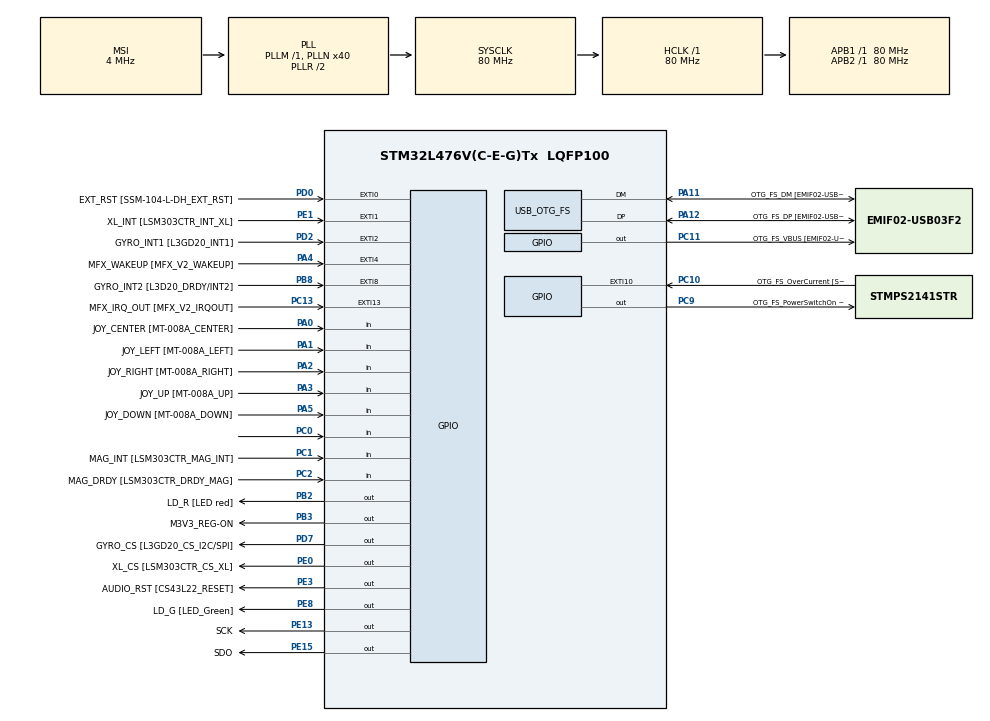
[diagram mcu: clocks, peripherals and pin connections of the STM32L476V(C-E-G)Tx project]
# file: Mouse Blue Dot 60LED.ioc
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Mcu.Family=STM32L4
Mcu.Name=STM32L476V(C-E-G)Tx
Mcu.Package=LQFP100
NVIC.OTG_FS_IRQn=true\:0\:0\:false\:false\:true\:true\:true\:true
NVIC.PriorityGroup=NVIC_PRIORITYGROUP_4
PA0.GPIO_Label=JOY_CENTER [MT-008A_CENTER]
PA0.GPIO_Mode=GPIO_MODE_INPUT
PA0.GPIO_PuPd=GPIO_PULLDOWN
PA0.Signal=GPIO_Input
PA1.GPIO_Label=JOY_LEFT [MT-008A_LEFT]
PA1.GPIO_Mode=GPIO_MODE_INPUT
PA1.GPIO_PuPd=GPIO_PULLDOWN
PA1.Signal=GPIO_Input
PA10.GPIO_Label=COM2 [GH08172T_COM2]
PA10.GPIO_Mode=GPIO_MODE_AF_PP
PA10.GPIO_PuPd=GPIO_NOPULL
PA10.GPIO_Speed=GPIO_SPEED_FREQ_LOW
PA10.Signal=LCD_COM2
PA11.GPIO_Label=OTG_FS_DM [EMIF02-USB03F2_D-out]
PA11.GPIO_Mode=GPIO_MODE_AF_PP
PA11.GPIO_PuPd=GPIO_NOPULL
PA11.GPIO_Speed=GPIO_SPEED_FREQ_VERY_HIGH
PA11.Mode=Host_Only
PA11.Signal=USB_OTG_FS_DM
PA12.GPIO_Label=OTG_FS_DP [EMIF02-USB03F2_D+out]
PA12.GPIO_Mode=GPIO_MODE_AF_PP
PA12.GPIO_PuPd=GPIO_NOPULL
PA12.GPIO_Speed=GPIO_SPEED_FREQ_VERY_HIGH
PA12.Mode=Host_Only
PA12.Signal=USB_OTG_FS_DP
PA13\ (JTMS-SWDIO).GPIO_Label=SWDIO
PA13\ (JTMS-SWDIO).Mode=Serial_Wire
PA13\ (JTMS-SWDIO).Signal=SYS_JTMS-SWDIO
PA14\ (JTCK-SWCLK).GPIO_Label=SWCLK
PA14\ (JTCK-SWCLK).Mode=Serial_Wire
PA14\ (JTCK-SWCLK).Signal=SYS_JTCK-SWCLK
PA15\ (JTDI).GPIO_Label=SEG10 [GH08172T_SEG10]
PA15\ (JTDI).GPIO_Mode=GPIO_MODE_AF_PP
PA15\ (JTDI).GPIO_PuPd=GPIO_NOPULL
PA15\ (JTDI).GPIO_Speed=GPIO_SPEED_FREQ_LOW
PA15\ (JTDI).Signal=LCD_SEG17
PA2.GPIO_Label=JOY_RIGHT [MT-008A_RIGHT]
PA2.GPIO_Mode=GPIO_MODE_INPUT
PA2.GPIO_PuPd=GPIO_PULLDOWN
PA2.Signal=GPIO_Input
PA3.GPIO_Label=JOY_UP [MT-008A_UP]
PA3.GPIO_Mode=GPIO_MODE_INPUT
PA3.GPIO_PuPd=GPIO_PULLDOWN
PA3.Signal=GPIO_Input
PA4.GPIO_Label=MFX_WAKEUP [MFX_V2_WAKEUP]
PA4.GPIO_ModeDefaultEXTI=GPIO_MODE_EVT_RISING
PA4.GPIO_PuPd=GPIO_NOPULL
PA4.Signal=GPXTI4
PA5.GPIO_Label=JOY_DOWN [MT-008A_DOWN]
PA5.GPIO_Mode=GPIO_MODE_INPUT
PA5.GPIO_PuPd=GPIO_PULLDOWN
PA5.Signal=GPIO_Input
PA6.GPIO_Label=SEG23 [GH08172T_SEG23]
PA6.GPIO_Mode=GPIO_MODE_AF_PP
PA6.GPIO_PuPd=GPIO_NOPULL
PA6.GPIO_Speed=GPIO_SPEED_FREQ_LOW
PA6.Signal=LCD_SEG3
PA7.GPIO_Label=SEG0 [GH08172T_SEG0]
PA7.GPIO_Mode=GPIO_MODE_AF_PP
PA7.GPIO_PuPd=GPIO_NOPULL
PA7.GPIO_Speed=GPIO_SPEED_FREQ_LOW
PA7.Signal=LCD_SEG4
PA8.GPIO_Label=COM0 [GH08172T_COM0]
PA8.GPIO_Mode=GPIO_MODE_AF_PP
PA8.GPIO_PuPd=GPIO_NOPULL
PA8.GPIO_Speed=GPIO_SPEED_FREQ_LOW
PA8.Signal=LCD_COM0
PA9.GPIO_Label=COM1 [GH08172T_COM1]
PA9.GPIO_Mode=GPIO_MODE_AF_PP
PA9.GPIO_PuPd=GPIO_NOPULL
PA9.GPIO_Speed=GPIO_SPEED_FREQ_LOW
PA9.Signal=LCD_COM1
PB0.GPIO_Label=SEG21 [GH08172T_SEG21]
PB0.GPIO_Mode=GPIO_MODE_AF_PP
PB0.GPIO_PuPd=GPIO_NOPULL
PB0.GPIO_Speed=GPIO_SPEED_FREQ_LOW
PB0.Signal=LCD_SEG5
PB1.GPIO_Label=SEG2 [GH08172T_SEG2]
PB1.GPIO_Mode=GPIO_MODE_AF_PP
PB1.GPIO_PuPd=GPIO_NOPULL
PB1.GPIO_Speed=GPIO_SPEED_FREQ_LOW
PB1.Signal=LCD_SEG6
PB10.GPIO_Label=MFX_I2C_SLC [MFX_V2_I2C_SCL]
PB10.GPIO_Mode=GPIO_MODE_AF_OD
PB10.GPIO_PuPdOD=GPIO_PULLUP
PB10.GPIO_Speed=GPIO_SPEED_FREQ_VERY_HIGH
PB10.Signal=I2C2_SCL
PB11.GPIO_Label=MFX_I2C_SDA [MFX_V2_I2C_SDA]
PB11.GPIO_Mode=GPIO_MODE_AF_OD
PB11.GPIO_PuPdOD=GPIO_PULLUP
PB11.GPIO_Speed=GPIO_SPEED_FREQ_VERY_HIGH
PB11.Signal=I2C2_SDA
PB12.GPIO_Label=SEG20 [GH08172T_SEG20]
PB12.GPIO_Mode=GPIO_MODE_AF_PP
PB12.GPIO_PuPd=GPIO_NOPULL
PB12.GPIO_Speed=GPIO_SPEED_FREQ_LOW
PB12.Signal=LCD_SEG12
PB13.GPIO_Label=SEG3 [GH08172T_SEG3]
PB13.GPIO_Mode=GPIO_MODE_AF_PP
PB13.GPIO_PuPd=GPIO_NOPULL
PB13.GPIO_Speed=GPIO_SPEED_FREQ_LOW
PB13.Signal=LCD_SEG13
PB14.GPIO_Label=SEG19 [GH08172T_SEG19]
PB14.GPIO_Mode=GPIO_MODE_AF_PP
PB14.GPIO_PuPd=GPIO_NOPULL
PB14.GPIO_Speed=GPIO_SPEED_FREQ_LOW
PB14.Signal=LCD_SEG14
PB15.GPIO_Label=SEG4 [GH08172T_SEG4]
PB15.GPIO_Mode=GPIO_MODE_AF_PP
PB15.GPIO_PuPd=GPIO_NOPULL
PB15.GPIO_Speed=GPIO_SPEED_FREQ_LOW
PB15.Signal=LCD_SEG15
PB2.GPIO_Label=LD_R [LED red]
PB2.GPIO_ModeDefaultOutputPP=GPIO_MODE_OUTPUT_PP
PB2.GPIO_PuPd=GPIO_PULLUP
PB2.GPIO_Speed=GPIO_SPEED_FREQ_VERY_HIGH
PB2.Signal=GPIO_Output
PB3\ (JTDO-TRACESWO).GPIO_Label=M3V3_REG-ON
PB3\ (JTDO-TRACESWO).GPIO_ModeDefaultOutputPP=GPIO_MODE_OUTPUT_PP
PB3\ (JTDO-TRACESWO).GPIO_PuPd=GPIO_NOPULL
PB3\ (JTDO-TRACESWO).GPIO_Speed=GPIO_SPEED_FREQ_LOW
PB3\ (JTDO-TRACESWO).Signal=GPIO_Output
PB4\ (NJTRST).GPIO_Label=SEG11 [GH08172T_SEG11]
PB4\ (NJTRST).GPIO_Mode=GPIO_MODE_AF_PP
PB4\ (NJTRST).GPIO_PuPd=GPIO_NOPULL
PB4\ (NJTRST).GPIO_Speed=GPIO_SPEED_FREQ_LOW
PB4\ (NJTRST).Signal=LCD_SEG8
PB5.GPIO_Label=SEG12 [GH08172T_SEG12]
PB5.GPIO_Mode=GPIO_MODE_AF_PP
PB5.GPIO_PuPd=GPIO_NOPULL
PB5.GPIO_Speed=GPIO_SPEED_FREQ_LOW
PB5.Signal=LCD_SEG9
PB6.GPIO_FM6=__NULL
PB6.GPIO_Label=I2C1_SCL [SSM-104-L-DH_SCL]
PB6.GPIO_Mode=GPIO_MODE_AF_OD
PB6.GPIO_PuPdOD=GPIO_PULLUP
PB6.GPIO_Speed=GPIO_SPEED_FREQ_VERY_HIGH
PB6.Signal=I2C1_SCL
PB7.GPIO_FM7=__NULL
PB7.GPIO_Label=I2C1_SDA [SSM-104-L-DH_SDA]
PB7.GPIO_Mode=GPIO_MODE_AF_OD
PB7.GPIO_PuPdOD=GPIO_PULLUP
PB7.GPIO_Speed=GPIO_SPEED_FREQ_VERY_HIGH
PB7.Signal=I2C1_SDA
PB8.GPIO_Label=GYRO_INT2 [L3D20_DRDY/INT2]
PB8.GPIO_ModeDefaultEXTI=GPIO_MODE_EVT_RISING
PB8.GPIO_PuPd=GPIO_NOPULL
PB8.Signal=GPXTI8
PB9.GPIO_FM9=__NULL
PB9.GPIO_Label=COM3 [GH08172T_COM3]
PB9.GPIO_Mode=GPIO_MODE_AF_PP
PB9.GPIO_PuPd=GPIO_NOPULL
PB9.GPIO_Speed=GPIO_SPEED_FREQ_LOW
PB9.Signal=LCD_COM3
PC0.Signal=GPIO_Input
PC1.GPIO_Label=MAG_INT [LSM303CTR_MAG_INT]
PC1.GPIO_Mode=GPIO_MODE_INPUT
PC1.GPIO_PuPd=GPIO_NOPULL
PC1.Signal=GPIO_Input
PC10.GPIO_Label=OTG_FS_OverCurrent [STMPS2141STR_FAULT]
PC10.GPIO_ModeDefaultEXTI=GPIO_MODE_EVT_RISING
PC10.GPIO_PuPd=GPIO_NOPULL
PC10.Signal=GPXTI10
PC11.GPIO_Label=OTG_FS_VBUS [EMIF02-USB03F2_Vbus]
PC11.GPIO_ModeDefaultOutputPP=GPIO_MODE_OUTPUT_PP
PC11.GPIO_PuPd=GPIO_NOPULL
PC11.GPIO_Speed=GPIO_SPEED_FREQ_LOW
PC11.Signal=GPIO_Output
PC13.GPIO_Label=MFX_IRQ_OUT [MFX_V2_IRQOUT]
PC13.GPIO_ModeDefaultEXTI=GPIO_MODE_EVT_RISING
PC13.GPIO_PuPd=GPIO_NOPULL
PC13.Signal=GPXTI13
PC14-OSC32_IN\ (PC14).Mode=LSE-External-Oscillator
PC14-OSC32_IN\ (PC14).Signal=RCC_OSC32_IN
PC15-OSC32_OUT\ (PC15).Mode=LSE-External-Oscillator
PC15-OSC32_OUT\ (PC15).Signal=RCC_OSC32_OUT
PC2.GPIO_Label=MAG_DRDY [LSM303CTR_DRDY_MAG]
PC2.GPIO_Mode=GPIO_MODE_INPUT
PC2.GPIO_PuPd=GPIO_NOPULL
PC2.Signal=GPIO_Input
PC3.GPIO_Label=VLCD
PC3.GPIO_Mode=GPIO_MODE_AF_PP
PC3.GPIO_PuPd=GPIO_NOPULL
PC3.GPIO_Speed=GPIO_SPEED_FREQ_LOW
PC3.Signal=LCD_VLCD
PC4.GPIO_Label=SEG22 [GH08172T_SEG22]
PC4.GPIO_Mode=GPIO_MODE_AF_PP
PC4.GPIO_PuPd=GPIO_NOPULL
PC4.GPIO_Speed=GPIO_SPEED_FREQ_LOW
PC4.Signal=LCD_SEG22
PC5.GPIO_Label=SEG1 [GH08172T_SEG1]
PC5.GPIO_Mode=GPIO_MODE_AF_PP
PC5.GPIO_PuPd=GPIO_NOPULL
PC5.GPIO_Speed=GPIO_SPEED_FREQ_LOW
PC5.Signal=LCD_SEG23
PC6.GPIO_Label=SEG14 [GH08172T_SEG14]
PC6.GPIO_Mode=GPIO_MODE_AF_PP
PC6.GPIO_PuPd=GPIO_NOPULL
PC6.GPIO_Speed=GPIO_SPEED_FREQ_LOW
PC6.Signal=LCD_SEG24
PC7.GPIO_Label=SEG9 [GH08172T_SEG9]
PC7.GPIO_Mode=GPIO_MODE_AF_PP
PC7.GPIO_PuPd=GPIO_NOPULL
PC7.GPIO_Speed=GPIO_SPEED_FREQ_LOW
PC7.Signal=LCD_SEG25
PC8.GPIO_Label=SEG13 [GH08172T_SEG13]
PC8.GPIO_Mode=GPIO_MODE_AF_PP
PC8.GPIO_PuPd=GPIO_NOPULL
PC8.GPIO_Speed=GPIO_SPEED_FREQ_LOW
PC8.Signal=LCD_SEG26
PC9.GPIO_Label=OTG_FS_PowerSwitchOn [STMPS2141STR_EN]
PC9.GPIO_ModeDefaultOutputPP=GPIO_MODE_OUTPUT_PP
PC9.GPIO_PuPd=GPIO_NOPULL
PC9.GPIO_Speed=GPIO_SPEED_FREQ_LOW
PC9.PinState=GPIO_PIN_SET
PC9.Signal=GPIO_Output
PD0.GPIO_Label=EXT_RST [SSM-104-L-DH_EXT_RST]
PD0.GPIO_ModeDefaultEXTI=GPIO_MODE_EVT_RISING
PD0.GPIO_PuPd=GPIO_NOPULL
PD0.Signal=GPXTI0
PD1.GPIO_Label=MEMS_SCK [L3GD20_SCL/SPC]
PD1.GPIO_Mode=GPIO_MODE_AF_PP
PD1.GPIO_PuPd=GPIO_NOPULL
PD1.GPIO_Speed=GPIO_SPEED_FREQ_VERY_HIGH
PD1.Signal=SPI2_SCK
PD10.GPIO_Label=SEG17 [GH08172T_SEG17]
PD10.GPIO_Mode=GPIO_MODE_AF_PP
PD10.GPIO_PuPd=GPIO_NOPULL
PD10.GPIO_Speed=GPIO_SPEED_FREQ_LOW
PD10.Signal=LCD_SEG30
PD11.GPIO_Label=SEG6 [GH08172T_SEG6]
PD11.GPIO_Mode=GPIO_MODE_AF_PP
PD11.GPIO_PuPd=GPIO_NOPULL
PD11.GPIO_Speed=GPIO_SPEED_FREQ_LOW
PD11.Signal=LCD_SEG31
PD12.GPIO_Label=SEG16 [GH08172T_SEG16]
PD12.GPIO_Mode=GPIO_MODE_AF_PP
PD12.GPIO_PuPd=GPIO_NOPULL
PD12.GPIO_Speed=GPIO_SPEED_FREQ_LOW
PD12.Signal=LCD_SEG32
PD13.GPIO_Label=SEG7 [GH08172T_SEG7]
PD13.GPIO_Mode=GPIO_MODE_AF_PP
PD13.GPIO_PuPd=GPIO_NOPULL
PD13.GPIO_Speed=GPIO_SPEED_FREQ_LOW
PD13.Signal=LCD_SEG33
PD14.GPIO_Label=SEG15 [GH08172T_SEG15]
PD14.GPIO_Mode=GPIO_MODE_AF_PP
PD14.GPIO_PuPd=GPIO_NOPULL
PD14.GPIO_Speed=GPIO_SPEED_FREQ_LOW
PD14.Signal=LCD_SEG34
PD15.GPIO_Label=SEG8 [GH08172T_SEG8]
PD15.GPIO_Mode=GPIO_MODE_AF_PP
PD15.GPIO_PuPd=GPIO_NOPULL
PD15.GPIO_Speed=GPIO_SPEED_FREQ_LOW
PD15.Signal=LCD_SEG35
PD2.GPIO_Label=GYRO_INT1 [L3GD20_INT1]
PD2.GPIO_ModeDefaultEXTI=GPIO_MODE_EVT_RISING
PD2.GPIO_PuPd=GPIO_NOPULL
PD2.Signal=GPXTI2
PD3.GPIO_Label=MEMS_MISO [L3GD20_SA0/SDO]
PD3.GPIO_Mode=GPIO_MODE_AF_PP
PD3.GPIO_PuPd=GPIO_NOPULL
PD3.GPIO_Speed=GPIO_SPEED_FREQ_VERY_HIGH
PD3.Signal=SPI2_MISO
PD4.GPIO_Label=MEMS_MOSI [L3GD20_SDA/SDI/SDO]
PD4.GPIO_Mode=GPIO_MODE_AF_PP
PD4.GPIO_PuPd=GPIO_NOPULL
PD4.GPIO_Speed=GPIO_SPEED_FREQ_VERY_HIGH
PD4.Signal=SPI2_MOSI
PD5.GPIO_Label=USART_TX
PD5.GPIO_Mode=GPIO_MODE_AF_PP
PD5.GPIO_PuPd=GPIO_PULLUP
PD5.GPIO_Speed=GPIO_SPEED_FREQ_VERY_HIGH
PD5.Signal=USART2_TX
PD6.GPIO_Label=USART_RX
PD6.GPIO_Mode=GPIO_MODE_AF_PP
PD6.GPIO_PuPd=GPIO_PULLUP
PD6.GPIO_Speed=GPIO_SPEED_FREQ_VERY_HIGH
PD6.Signal=USART2_RX
PD7.GPIO_Label=GYRO_CS [L3GD20_CS_I2C/SPI]
PD7.GPIO_ModeDefaultOutputPP=GPIO_MODE_OUTPUT_PP
PD7.GPIO_PuPd=GPIO_NOPULL
PD7.GPIO_Speed=GPIO_SPEED_FREQ_VERY_HIGH
PD7.Signal=GPIO_Output
PD8.GPIO_Label=SEG18 [GH08172T_SEG18]
PD8.GPIO_Mode=GPIO_MODE_AF_PP
PD8.GPIO_PuPd=GPIO_NOPULL
PD8.GPIO_Speed=GPIO_SPEED_FREQ_LOW
PD8.Signal=LCD_SEG28
PD9.GPIO_Label=SEG5 [GH08172T_SEG5]
PD9.GPIO_Mode=GPIO_MODE_AF_PP
PD9.GPIO_PuPd=GPIO_NOPULL
PD9.GPIO_Speed=GPIO_SPEED_FREQ_LOW
PD9.Signal=LCD_SEG29
PE0.GPIO_Label=XL_CS [LSM303CTR_CS_XL]
PE0.GPIO_ModeDefaultOutputPP=GPIO_MODE_OUTPUT_PP
PE0.GPIO_PuPd=GPIO_NOPULL
PE0.GPIO_Speed=GPIO_SPEED_FREQ_LOW
PE0.Signal=GPIO_Output
PE1.GPIO_Label=XL_INT [LSM303CTR_INT_XL]
PE1.GPIO_ModeDefaultEXTI=GPIO_MODE_EVT_RISING
PE1.GPIO_PuPd=GPIO_NOPULL
PE1.Signal=GPXTI1
PE10.GPIO_Label=QSPI_CLK [N25Q128A13EF840E_C]
PE10.GPIO_Mode=GPIO_MODE_AF_PP
PE10.GPIO_PuPd=GPIO_NOPULL
PE10.GPIO_Speed=GPIO_SPEED_FREQ_VERY_HIGH
PE10.Signal=QUADSPI_CLK
PE11.GPIO_Label=QSPI_CS [N25Q128A13EF840E_S\#]
PE11.GPIO_Mode=GPIO_MODE_AF_PP
PE11.GPIO_PuPd=GPIO_NOPULL
PE11.GPIO_Speed=GPIO_SPEED_FREQ_VERY_HIGH
PE11.Signal=QUADSPI_NCS
PE12.GPIO_Label=QSPI_D0 [N25Q128A13EF840E_DQ0]
PE12.GPIO_Mode=GPIO_MODE_AF_PP
PE12.GPIO_PuPd=GPIO_NOPULL
PE12.GPIO_Speed=GPIO_SPEED_FREQ_VERY_HIGH
PE12.Signal=QUADSPI_BK1_IO0
PE13.GPIO_Label=SCK
PE13.GPIO_Speed=GPIO_SPEED_FREQ_MEDIUM
PE13.Signal=GPIO_Output
PE14.GPIO_Label=QSPI_D2 [N25Q128A13EF840E_DQ2]
PE14.GPIO_Mode=GPIO_MODE_AF_PP
PE14.GPIO_PuPd=GPIO_NOPULL
PE14.GPIO_Speed=GPIO_SPEED_FREQ_VERY_HIGH
PE14.Signal=QUADSPI_BK1_IO2
PE15.GPIO_Label=SDO
PE15.GPIO_Speed=GPIO_SPEED_FREQ_MEDIUM
PE15.Signal=GPIO_Output
PE2.GPIO_Label=SAI1_MCK [CS43L22_MCLK]
PE2.GPIO_Mode=GPIO_MODE_AF_PP
PE2.GPIO_PuPd=GPIO_NOPULL
PE2.GPIO_Speed=GPIO_SPEED_FREQ_VERY_HIGH
PE2.Signal=SAI1_MCLK_A
PE3.GPIO_Label=AUDIO_RST [CS43L22_RESET]
PE3.GPIO_ModeDefaultOutputPP=GPIO_MODE_OUTPUT_PP
PE3.GPIO_PuPd=GPIO_NOPULL
PE3.GPIO_Speed=GPIO_SPEED_FREQ_HIGH
PE3.Signal=GPIO_Output
PE4.GPIO_Label=SAI1_FS [CS43L22_LRCK]
PE4.GPIO_Mode=GPIO_MODE_AF_PP
PE4.GPIO_PuPd=GPIO_NOPULL
PE4.GPIO_Speed=GPIO_SPEED_FREQ_VERY_HIGH
PE4.Signal=SAI1_FS_A
PE5.GPIO_Label=SAI1_SCK [CS43L22_SCLK]
PE5.GPIO_Mode=GPIO_MODE_AF_PP
PE5.GPIO_PuPd=GPIO_NOPULL
PE5.GPIO_Speed=GPIO_SPEED_FREQ_VERY_HIGH
PE5.Signal=SAI1_SCK_A
PE6.GPIO_Label=SAI1_SD [CS43L22_SDIN]
PE6.GPIO_Mode=GPIO_MODE_AF_PP
PE6.GPIO_PuPd=GPIO_NOPULL
PE6.GPIO_Speed=GPIO_SPEED_FREQ_VERY_HIGH
PE6.Signal=SAI1_SD_A
PE7.GPIO_Label=AUDIO_DIN [MP34DT01_DOUT]
PE7.GPIO_Mode=GPIO_MODE_AF_PP
PE7.GPIO_PuPd=GPIO_NOPULL
PE7.GPIO_Speed=GPIO_SPEED_FREQ_VERY_HIGH
PE7.Signal=SAI1_SD_B
PE8.GPIO_Label=LD_G [LED_Green]
PE8.GPIO_ModeDefaultOutputPP=GPIO_MODE_OUTPUT_PP
PE8.GPIO_PuPd=GPIO_PULLUP
PE8.GPIO_Speed=GPIO_SPEED_FREQ_VERY_HIGH
PE8.Signal=GPIO_Output
PE9.GPIO_Label=AUDIO_CLK [MP34DT01_CLK]
PE9.GPIO_Mode=GPIO_MODE_AF_PP
PE9.GPIO_PuPd=GPIO_NOPULL
PE9.GPIO_Speed=GPIO_SPEED_FREQ_LOW
PE9.Signal=SAI1_FS_B
PH0-OSC_IN\ (PH0).Mode=HSE-External-Oscillator
PH0-OSC_IN\ (PH0).Signal=RCC_OSC_IN
PH1-OSC_OUT\ (PH1).Mode=HSE-External-Oscillator
PH1-OSC_OUT\ (PH1).Signal=RCC_OSC_OUT
ProjectManager.HeapSize=0x200
ProjectManager.StackSize=0x400
ProjectManager.TargetToolchain=MDK-ARM V5.27
RCC.ADCFreq_Value=48000000
RCC.AHBFreq_Value=80000000
RCC.APB1Freq_Value=80000000
RCC.APB1TimFreq_Value=80000000
RCC.APB2Freq_Value=80000000
RCC.APB2TimFreq_Value=80000000
RCC.CortexFreq_Value=80000000
RCC.HCLKFreq_Value=80000000
RCC.HSE_VALUE=8000000
RCC.HSI_VALUE=16000000
RCC.MSI_VALUE=4000000
RCC.PLLN=40
RCC.PLLSAI1N=24
RCC.PREFETCH_ENABLE=1
RCC.SYSCLKFreq_VALUE=80000000
RCC.SYSCLKSource=RCC_SYSCLKSOURCE_PLLCLK
RCC.USBFreq_Value=48000000
RCC.VCOOutputFreq_Value=160000000
USB_HOST.BSP.number=1
USB_HOST.USBH_HandleTypeDef=hUsbHostFS
USB_HOST.VirtualModeFS=Hid
USB_HOST0.BSP.STBoard=false
USB_HOST0.BSP.api=Unknown
USB_HOST0.BSP.instance=PC9
USB_HOST0.BSP.ip=GPIO
USB_HOST0.BSP.mode=Output
USB_HOST0.BSP.name=Drive_VBUS_FS
USB_HOST0.BSP.solution=PC9
USB_OTG_FS.VirtualMode=Host_Only
USB_OTG_FS.phy_itface=HCD_PHY_EMBEDDED
VP_USB_HOST_VS_USB_HOST_HID_FS.Mode=HID_FS
board=STM32L476G-DISCO

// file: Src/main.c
/* USER CODE BEGIN Header */
/**
  ******************************************************************************
  * @file           : main.c
  * @brief          : Main program body
  ******************************************************************************
  * @attention
  *
  * <h2><center>&copy; Copyright (c) 2020 STMicroelectronics.
  * All rights reserved.</center></h2>
  *
  * This software component is licensed by ST under BSD 3-Clause license,
  * the "License"; You may not use this file except in compliance with the
  * License. You may obtain a copy of the License at:
  *                        opensource.org/licenses/BSD-3-Clause
  *
  ******************************************************************************
  */
/* USER CODE END Header */
#include "main.h"
#include "usb_host.h"

/* USER CODE BEGIN Includes */
#include "usbh_hid.h"
/* USER CODE END Includes */

/* USER CODE BEGIN PD */

// #define KBMOUSECOMBO

#define KBRIGHT 0xe5000000
#define KRED 		(0x000000ff | KBRIGHT)
#define KGREEN 	(0x0000ff00 | KBRIGHT)
#define KBLUE 	(0x00ff0000 | KBRIGHT)
#define KWHITE	(0x00555555 | KBRIGHT)
#define KPURPLE	(0x007f007f | KBRIGHT)
#define KYELLOW (0x00007f7f | KBRIGHT)
#define KORANGE (0x00003fbf | KBRIGHT)
#define KINDIGO (0x00ef0010 | KBRIGHT)
#define KBLACK	(0x00000000 | KBRIGHT)

#define MASKRED 0x000000ff
#define MASKGREEN 0x0000ff00
#define MASKBLUE 0x00ff0000
#define MASKBRIGHT 0xff000000

#define NUM_LEDS 60

#define HEADER_SIZE 1
#define TRAILER_SIZE 2

#define COLOR_STRING_LENGTH (NUM_LEDS+HEADER_SIZE+TRAILER_SIZE)
#define SPOTFRAC 500		// fractional representation of the spot location
/* USER CODE END PD */

/* USER CODE BEGIN PV */

extern USBH_HandleTypeDef hUsbHostFS;
HID_TypeTypeDef devType;
HID_MOUSE_Info_TypeDef *mouseInfo;

unsigned int colors[NUM_LEDS];

unsigned int ledHeader[HEADER_SIZE] = {0};
unsigned int ledTrailer[TRAILER_SIZE] = {0xffffffff, 0xffffffff};
int spotLocation = NUM_LEDS * (SPOTFRAC/2);

/* USER CODE END PV */

void SystemClock_Config(void);
static void MX_GPIO_Init(void);
void MX_USB_HOST_Process(void);

/* USER CODE BEGIN 0 */

/*****************************
/ send 32 bits out the SPI port - MSB first
					send out the 32 bits of c
					sclk starts low and ends low
					SCK_Pin is the SPI clock pin; SCK_GPIO_Port is the port
					SDO_Pin is the SPI data pin; SDO_GPIO_Port is the port
*/

void spi32(unsigned int c) {
	GPIO_PinState pinVal;
	for (int i = 0; i<32; i++) {
		if ((c & 0x80000000) != 0)
      pinVal = GPIO_PIN_SET;
		else
      pinVal = GPIO_PIN_RESET;
		HAL_GPIO_WritePin(SDO_GPIO_Port, SDO_Pin,pinVal);
		HAL_GPIO_WritePin(SCK_GPIO_Port, SCK_Pin,GPIO_PIN_SET);
		HAL_GPIO_WritePin(SCK_GPIO_Port, SCK_Pin,GPIO_PIN_RESET);
		c = c << 1;
	}
}

void send_array(unsigned int *colorString) {
	int i;
		for (i=0; i< HEADER_SIZE; i++) {
		spi32(ledHeader[i]);
	}
	for (i=0; i< NUM_LEDS; i++) {
		spi32(colorString[i]);
	}
	for (i=0; i< TRAILER_SIZE; i++) {
		spi32(ledTrailer[i]);
	}
}

void setDot(unsigned int *color_array, int color_array_size, int spot, unsigned int color) {
	for (int i=0; i< color_array_size; i++) {
		color_array[i] = KBLACK;
	}
	color_array[spot/SPOTFRAC] = color;
}

int spotUpdate(int oldspot, int motion) {
  oldspot += motion;
  if (oldspot <= 0)
    return 0;
  if (oldspot >= ((NUM_LEDS-1) * SPOTFRAC))
		return ((NUM_LEDS-1) * SPOTFRAC);
	return oldspot;
}

int fixData(uint8_t d) {
	if ((d & 0x80) != 0)
		return 0xffffff00 | (int) d;
	else
		return (int) d;
}
/* USER CODE END 0 */

int main(void)
{

  /* MCU Configuration--------------------------------------------------------*/

  /* Reset of all peripherals, Initializes the Flash interface and the Systick. */
  HAL_Init();

  /* Configure the system clock */
  SystemClock_Config();

  /* Initialize all configured peripherals */
  MX_GPIO_Init();
  MX_USB_HOST_Init();
  /* USER CODE BEGIN 2 */
		int flag = 0;
		int array[8] = {KRED, KYELLOW, KPURPLE, KGREEN, KBLUE, KINDIGO, KWHITE, KORANGE};
		int index =4;
  /* USER CODE END 2 */

  /* Infinite loop */
  /* USER CODE BEGIN WHILE */
  while (1)
  {
		setDot(colors, NUM_LEDS, spotLocation, array[index]);
		send_array(colors);
		/* USER CODE END WHILE */
    MX_USB_HOST_Process();

    /* USER CODE BEGIN 3 */
    if (hUsbHostFS.gState == HOST_CLASS) {

#ifdef KBMOUSECOMBO
				hUsbHostFS.device.current_interface = 1;
#endif
			devType = USBH_HID_GetDeviceType(&hUsbHostFS);
			if (devType == HID_MOUSE) {
				HAL_GPIO_WritePin(LD_R_GPIO_Port, LD_R_Pin,GPIO_PIN_SET);
			}	else {
				HAL_GPIO_WritePin(LD_R_GPIO_Port, LD_R_Pin,GPIO_PIN_RESET);
			}
			if (devType == HID_KEYBOARD) {
				HAL_GPIO_WritePin(LD_G_GPIO_Port, LD_G_Pin,GPIO_PIN_SET);
			}	else {
				HAL_GPIO_WritePin(LD_G_GPIO_Port, LD_G_Pin,GPIO_PIN_RESET);
			}
			if (devType == HID_MOUSE) {
				mouseInfo = USBH_HID_GetMouseInfo(&hUsbHostFS);
				if (mouseInfo != NULL) {
					spotLocation = spotUpdate(spotLocation, fixData(mouseInfo->x));
								if(mouseInfo->buttons[0] != 0)
								{
									if (flag ==0)
									{
										flag=1;
									}
								}
								if(mouseInfo->buttons[0] != 1 && flag ==1)
								{
									index= (index+1) % 8;
									flag= 0;
								}
							}
						}
					}
		else if (hUsbHostFS.gState == HOST_IDLE) {
			HAL_GPIO_WritePin(LD_G_GPIO_Port, LD_G_Pin,GPIO_PIN_RESET);
			HAL_GPIO_WritePin(LD_R_GPIO_Port, LD_R_Pin,GPIO_PIN_RESET);
		}
  }
  /* USER CODE END 3 */
}

void SystemClock_Config(void)
{
  RCC_OscInitTypeDef RCC_OscInitStruct = {0};
  RCC_ClkInitTypeDef RCC_ClkInitStruct = {0};

  /** Configure the main internal regulator output voltage
  */
  if (HAL_PWREx_ControlVoltageScaling(PWR_REGULATOR_VOLTAGE_SCALE1) != HAL_OK)
  {
    Error_Handler();
  }

  /** Configure LSE Drive Capability
  */
  HAL_PWR_EnableBkUpAccess();
  __HAL_RCC_LSEDRIVE_CONFIG(RCC_LSEDRIVE_LOW);

  /** Initializes the RCC Oscillators according to the specified parameters
  * in the RCC_OscInitTypeDef structure.
  */
  RCC_OscInitStruct.OscillatorType = RCC_OSCILLATORTYPE_LSE|RCC_OSCILLATORTYPE_MSI;
  RCC_OscInitStruct.LSEState = RCC_LSE_ON;
  RCC_OscInitStruct.MSIState = RCC_MSI_ON;
  RCC_OscInitStruct.MSICalibrationValue = 0;
  RCC_OscInitStruct.MSIClockRange = RCC_MSIRANGE_6;
  RCC_OscInitStruct.PLL.PLLState = RCC_PLL_ON;
  RCC_OscInitStruct.PLL.PLLSource = RCC_PLLSOURCE_MSI;
  RCC_OscInitStruct.PLL.PLLM = 1;
  RCC_OscInitStruct.PLL.PLLN = 40;
  RCC_OscInitStruct.PLL.PLLP = RCC_PLLP_DIV7;
  RCC_OscInitStruct.PLL.PLLQ = RCC_PLLQ_DIV2;
  RCC_OscInitStruct.PLL.PLLR = RCC_PLLR_DIV2;
  if (HAL_RCC_OscConfig(&RCC_OscInitStruct) != HAL_OK)
  {
    Error_Handler();
  }

  /** Initializes the CPU, AHB and APB buses clocks
  */
  RCC_ClkInitStruct.ClockType = RCC_CLOCKTYPE_HCLK|RCC_CLOCKTYPE_SYSCLK
                              |RCC_CLOCKTYPE_PCLK1|RCC_CLOCKTYPE_PCLK2;
  RCC_ClkInitStruct.SYSCLKSource = RCC_SYSCLKSOURCE_PLLCLK;
  RCC_ClkInitStruct.AHBCLKDivider = RCC_SYSCLK_DIV1;
  RCC_ClkInitStruct.APB1CLKDivider = RCC_HCLK_DIV1;
  RCC_ClkInitStruct.APB2CLKDivider = RCC_HCLK_DIV1;

  if (HAL_RCC_ClockConfig(&RCC_ClkInitStruct, FLASH_LATENCY_4) != HAL_OK)
  {
    Error_Handler();
  }

  /** Enable MSI Auto calibration
  */
  HAL_RCCEx_EnableMSIPLLMode();
}

static void MX_GPIO_Init(void)
{
  GPIO_InitTypeDef GPIO_InitStruct = {0};

  /* GPIO Ports Clock Enable */
  __HAL_RCC_GPIOE_CLK_ENABLE();
  __HAL_RCC_GPIOC_CLK_ENABLE();
  __HAL_RCC_GPIOH_CLK_ENABLE();
  __HAL_RCC_GPIOA_CLK_ENABLE();
  __HAL_RCC_GPIOB_CLK_ENABLE();
  __HAL_RCC_GPIOD_CLK_ENABLE();

  /*Configure GPIO pin Output Level */
  HAL_GPIO_WritePin(GPIOE, AUDIO_RST_Pin|LD_G_Pin|SCK_Pin|SDO_Pin
                          |XL_CS_Pin, GPIO_PIN_RESET);

  /*Configure GPIO pin Output Level */
  HAL_GPIO_WritePin(GPIOB, LD_R_Pin|M3V3_REG_ON_Pin, GPIO_PIN_RESET);

  /*Configure GPIO pin Output Level */
  HAL_GPIO_WritePin(OTG_FS_PowerSwitchOn_GPIO_Port, OTG_FS_PowerSwitchOn_Pin, GPIO_PIN_SET);

  /*Configure GPIO pin Output Level */
  HAL_GPIO_WritePin(OTG_FS_VBUS_GPIO_Port, OTG_FS_VBUS_Pin, GPIO_PIN_RESET);

  /*Configure GPIO pin Output Level */
  HAL_GPIO_WritePin(GYRO_CS_GPIO_Port, GYRO_CS_Pin, GPIO_PIN_RESET);

  /*Configure GPIO pins : SAI1_MCK_Pin SAI1_FS_Pin SAI1_SCK_Pin SAI1_SD_Pin
                           AUDIO_DIN_Pin */
  GPIO_InitStruct.Pin = SAI1_MCK_Pin|SAI1_FS_Pin|SAI1_SCK_Pin|SAI1_SD_Pin
                          |AUDIO_DIN_Pin;
  GPIO_InitStruct.Mode = GPIO_MODE_AF_PP;
  GPIO_InitStruct.Pull = GPIO_NOPULL;
  GPIO_InitStruct.Speed = GPIO_SPEED_FREQ_VERY_HIGH;
  GPIO_InitStruct.Alternate = GPIO_AF13_SAI1;
  HAL_GPIO_Init(GPIOE, &GPIO_InitStruct);

  /*Configure GPIO pin : AUDIO_RST_Pin */
  GPIO_InitStruct.Pin = AUDIO_RST_Pin;
  GPIO_InitStruct.Mode = GPIO_MODE_OUTPUT_PP;
  GPIO_InitStruct.Pull = GPIO_NOPULL;
  GPIO_InitStruct.Speed = GPIO_SPEED_FREQ_HIGH;
  HAL_GPIO_Init(AUDIO_RST_GPIO_Port, &GPIO_InitStruct);

  /*Configure GPIO pins : MFX_IRQ_OUT_Pin OTG_FS_OverCurrent_Pin */
  GPIO_InitStruct.Pin = MFX_IRQ_OUT_Pin|OTG_FS_OverCurrent_Pin;
  GPIO_InitStruct.Mode = GPIO_MODE_EVT_RISING;
  GPIO_InitStruct.Pull = GPIO_NOPULL;
  HAL_GPIO_Init(GPIOC, &GPIO_InitStruct);

  /*Configure GPIO pins : PC0 MAG_INT_Pin MAG_DRDY_Pin */
  GPIO_InitStruct.Pin = GPIO_PIN_0|MAG_INT_Pin|MAG_DRDY_Pin;
  GPIO_InitStruct.Mode = GPIO_MODE_INPUT;
  GPIO_InitStruct.Pull = GPIO_NOPULL;
  HAL_GPIO_Init(GPIOC, &GPIO_InitStruct);

  /*Configure GPIO pins : VLCD_Pin SEG22_Pin SEG1_Pin SEG14_Pin
                           SEG9_Pin SEG13_Pin */
  GPIO_InitStruct.Pin = VLCD_Pin|SEG22_Pin|SEG1_Pin|SEG14_Pin
                          |SEG9_Pin|SEG13_Pin;
  GPIO_InitStruct.Mode = GPIO_MODE_AF_PP;
  GPIO_InitStruct.Pull = GPIO_NOPULL;
  GPIO_InitStruct.Speed = GPIO_SPEED_FREQ_LOW;
  GPIO_InitStruct.Alternate = GPIO_AF11_LCD;
  HAL_GPIO_Init(GPIOC, &GPIO_InitStruct);

  /*Configure GPIO pins : JOY_CENTER_Pin JOY_LEFT_Pin JOY_RIGHT_Pin JOY_UP_Pin
                           JOY_DOWN_Pin */
  GPIO_InitStruct.Pin = JOY_CENTER_Pin|JOY_LEFT_Pin|JOY_RIGHT_Pin|JOY_UP_Pin
                          |JOY_DOWN_Pin;
  GPIO_InitStruct.Mode = GPIO_MODE_INPUT;
  GPIO_InitStruct.Pull = GPIO_PULLDOWN;
  HAL_GPIO_Init(GPIOA, &GPIO_InitStruct);

  /*Configure GPIO pin : MFX_WAKEUP_Pin */
  GPIO_InitStruct.Pin = MFX_WAKEUP_Pin;
  GPIO_InitStruct.Mode = GPIO_MODE_EVT_RISING;
  GPIO_InitStruct.Pull = GPIO_NOPULL;
  HAL_GPIO_Init(MFX_WAKEUP_GPIO_Port, &GPIO_InitStruct);

  /*Configure GPIO pins : SEG23_Pin SEG0_Pin COM0_Pin COM1_Pin
                           COM2_Pin SEG10_Pin */
  GPIO_InitStruct.Pin = SEG23_Pin|SEG0_Pin|COM0_Pin|COM1_Pin
                          |COM2_Pin|SEG10_Pin;
  GPIO_InitStruct.Mode = GPIO_MODE_AF_PP;
  GPIO_InitStruct.Pull = GPIO_NOPULL;
  GPIO_InitStruct.Speed = GPIO_SPEED_FREQ_LOW;
  GPIO_InitStruct.Alternate = GPIO_AF11_LCD;
  HAL_GPIO_Init(GPIOA, &GPIO_InitStruct);

  /*Configure GPIO pins : SEG21_Pin SEG2_Pin SEG20_Pin SEG3_Pin
                           SEG19_Pin SEG4_Pin SEG11_Pin SEG12_Pin
                           COM3_Pin */
  GPIO_InitStruct.Pin = SEG21_Pin|SEG2_Pin|SEG20_Pin|SEG3_Pin
                          |SEG19_Pin|SEG4_Pin|SEG11_Pin|SEG12_Pin
                          |COM3_Pin;
  GPIO_InitStruct.Mode = GPIO_MODE_AF_PP;
  GPIO_InitStruct.Pull = GPIO_NOPULL;
  GPIO_InitStruct.Speed = GPIO_SPEED_FREQ_LOW;
  GPIO_InitStruct.Alternate = GPIO_AF11_LCD;
  HAL_GPIO_Init(GPIOB, &GPIO_InitStruct);

  /*Configure GPIO pin : LD_R_Pin */
  GPIO_InitStruct.Pin = LD_R_Pin;
  GPIO_InitStruct.Mode = GPIO_MODE_OUTPUT_PP;
  GPIO_InitStruct.Pull = GPIO_PULLUP;
  GPIO_InitStruct.Speed = GPIO_SPEED_FREQ_VERY_HIGH;
  HAL_GPIO_Init(LD_R_GPIO_Port, &GPIO_InitStruct);

  /*Configure GPIO pin : LD_G_Pin */
  GPIO_InitStruct.Pin = LD_G_Pin;
  GPIO_InitStruct.Mode = GPIO_MODE_OUTPUT_PP;
  GPIO_InitStruct.Pull = GPIO_PULLUP;
  GPIO_InitStruct.Speed = GPIO_SPEED_FREQ_VERY_HIGH;
  HAL_GPIO_Init(LD_G_GPIO_Port, &GPIO_InitStruct);

  /*Configure GPIO pin : AUDIO_CLK_Pin */
  GPIO_InitStruct.Pin = AUDIO_CLK_Pin;
  GPIO_InitStruct.Mode = GPIO_MODE_AF_PP;
  GPIO_InitStruct.Pull = GPIO_NOPULL;
  GPIO_InitStruct.Speed = GPIO_SPEED_FREQ_LOW;
  GPIO_InitStruct.Alternate = GPIO_AF13_SAI1;
  HAL_GPIO_Init(AUDIO_CLK_GPIO_Port, &GPIO_InitStruct);

  /*Configure GPIO pins : QSPI_CLK_Pin QSPI_CS_Pin QSPI_D0_Pin QSPI_D2_Pin */
  GPIO_InitStruct.Pin = QSPI_CLK_Pin|QSPI_CS_Pin|QSPI_D0_Pin|QSPI_D2_Pin;
  GPIO_InitStruct.Mode = GPIO_MODE_AF_PP;
  GPIO_InitStruct.Pull = GPIO_NOPULL;
  GPIO_InitStruct.Speed = GPIO_SPEED_FREQ_VERY_HIGH;
  GPIO_InitStruct.Alternate = GPIO_AF10_QUADSPI;
  HAL_GPIO_Init(GPIOE, &GPIO_InitStruct);

  /*Configure GPIO pins : SCK_Pin SDO_Pin */
  GPIO_InitStruct.Pin = SCK_Pin|SDO_Pin;
  GPIO_InitStruct.Mode = GPIO_MODE_OUTPUT_PP;
  GPIO_InitStruct.Pull = GPIO_NOPULL;
  GPIO_InitStruct.Speed = GPIO_SPEED_FREQ_MEDIUM;
  HAL_GPIO_Init(GPIOE, &GPIO_InitStruct);

  /*Configure GPIO pins : MFX_I2C_SLC_Pin MFX_I2C_SDA_Pin */
  GPIO_InitStruct.Pin = MFX_I2C_SLC_Pin|MFX_I2C_SDA_Pin;
  GPIO_InitStruct.Mode = GPIO_MODE_AF_OD;
  GPIO_InitStruct.Pull = GPIO_NOPULL;
  GPIO_InitStruct.Speed = GPIO_SPEED_FREQ_VERY_HIGH;
  GPIO_InitStruct.Alternate = GPIO_AF4_I2C2;
  HAL_GPIO_Init(GPIOB, &GPIO_InitStruct);

  /*Configure GPIO pins : SEG18_Pin SEG5_Pin SEG17_Pin SEG6_Pin
                           SEG16_Pin SEG7_Pin SEG15_Pin SEG8_Pin */
  GPIO_InitStruct.Pin = SEG18_Pin|SEG5_Pin|SEG17_Pin|SEG6_Pin
                          |SEG16_Pin|SEG7_Pin|SEG15_Pin|SEG8_Pin;
  GPIO_InitStruct.Mode = GPIO_MODE_AF_PP;
  GPIO_InitStruct.Pull = GPIO_NOPULL;
  GPIO_InitStruct.Speed = GPIO_SPEED_FREQ_LOW;
  GPIO_InitStruct.Alternate = GPIO_AF11_LCD;
  HAL_GPIO_Init(GPIOD, &GPIO_InitStruct);

  /*Configure GPIO pins : OTG_FS_PowerSwitchOn_Pin OTG_FS_VBUS_Pin */
  GPIO_InitStruct.Pin = OTG_FS_PowerSwitchOn_Pin|OTG_FS_VBUS_Pin;
  GPIO_InitStruct.Mode = GPIO_MODE_OUTPUT_PP;
  GPIO_InitStruct.Pull = GPIO_NOPULL;
  GPIO_InitStruct.Speed = GPIO_SPEED_FREQ_LOW;
  HAL_GPIO_Init(GPIOC, &GPIO_InitStruct);

  /*Configure GPIO pins : EXT_RST_Pin GYRO_INT1_Pin */
  GPIO_InitStruct.Pin = EXT_RST_Pin|GYRO_INT1_Pin;
  GPIO_InitStruct.Mode = GPIO_MODE_EVT_RISING;
  GPIO_InitStruct.Pull = GPIO_NOPULL;
  HAL_GPIO_Init(GPIOD, &GPIO_InitStruct);

  /*Configure GPIO pins : MEMS_SCK_Pin MEMS_MISO_Pin MEMS_MOSI_Pin */
  GPIO_InitStruct.Pin = MEMS_SCK_Pin|MEMS_MISO_Pin|MEMS_MOSI_Pin;
  GPIO_InitStruct.Mode = GPIO_MODE_AF_PP;
  GPIO_InitStruct.Pull = GPIO_NOPULL;
  GPIO_InitStruct.Speed = GPIO_SPEED_FREQ_VERY_HIGH;
  GPIO_InitStruct.Alternate = GPIO_AF5_SPI2;
  HAL_GPIO_Init(GPIOD, &GPIO_InitStruct);

  /*Configure GPIO pins : USART_TX_Pin USART_RX_Pin */
  GPIO_InitStruct.Pin = USART_TX_Pin|USART_RX_Pin;
  GPIO_InitStruct.Mode = GPIO_MODE_AF_PP;
  GPIO_InitStruct.Pull = GPIO_PULLUP;
  GPIO_InitStruct.Speed = GPIO_SPEED_FREQ_VERY_HIGH;
  GPIO_InitStruct.Alternate = GPIO_AF7_USART2;
  HAL_GPIO_Init(GPIOD, &GPIO_InitStruct);

  /*Configure GPIO pin : GYRO_CS_Pin */
  GPIO_InitStruct.Pin = GYRO_CS_Pin;
  GPIO_InitStruct.Mode = GPIO_MODE_OUTPUT_PP;
  GPIO_InitStruct.Pull = GPIO_NOPULL;
  GPIO_InitStruct.Speed = GPIO_SPEED_FREQ_VERY_HIGH;
  HAL_GPIO_Init(GYRO_CS_GPIO_Port, &GPIO_InitStruct);

  /*Configure GPIO pin : M3V3_REG_ON_Pin */
  GPIO_InitStruct.Pin = M3V3_REG_ON_Pin;
  GPIO_InitStruct.Mode = GPIO_MODE_OUTPUT_PP;
  GPIO_InitStruct.Pull = GPIO_NOPULL;
  GPIO_InitStruct.Speed = GPIO_SPEED_FREQ_LOW;
  HAL_GPIO_Init(M3V3_REG_ON_GPIO_Port, &GPIO_InitStruct);

  /*Configure GPIO pins : I2C1_SCL_Pin I2C1_SDA_Pin */
  GPIO_InitStruct.Pin = I2C1_SCL_Pin|I2C1_SDA_Pin;
  GPIO_InitStruct.Mode = GPIO_MODE_AF_OD;
  GPIO_InitStruct.Pull = GPIO_NOPULL;
  GPIO_InitStruct.Speed = GPIO_SPEED_FREQ_VERY_HIGH;
  GPIO_InitStruct.Alternate = GPIO_AF4_I2C1;
  HAL_GPIO_Init(GPIOB, &GPIO_InitStruct);

  /*Configure GPIO pin : GYRO_INT2_Pin */
  GPIO_InitStruct.Pin = GYRO_INT2_Pin;
  GPIO_InitStruct.Mode = GPIO_MODE_EVT_RISING;
  GPIO_InitStruct.Pull = GPIO_NOPULL;
  HAL_GPIO_Init(GYRO_INT2_GPIO_Port, &GPIO_InitStruct);

  /*Configure GPIO pin : XL_CS_Pin */
  GPIO_InitStruct.Pin = XL_CS_Pin;
  GPIO_InitStruct.Mode = GPIO_MODE_OUTPUT_PP;
  GPIO_InitStruct.Pull = GPIO_NOPULL;
  GPIO_InitStruct.Speed = GPIO_SPEED_FREQ_LOW;
  HAL_GPIO_Init(XL_CS_GPIO_Port, &GPIO_InitStruct);

  /*Configure GPIO pin : XL_INT_Pin */
  GPIO_InitStruct.Pin = XL_INT_Pin;
  GPIO_InitStruct.Mode = GPIO_MODE_EVT_RISING;
  GPIO_InitStruct.Pull = GPIO_NOPULL;
  HAL_GPIO_Init(XL_INT_GPIO_Port, &GPIO_InitStruct);

}

void Error_Handler(void)
{
}
